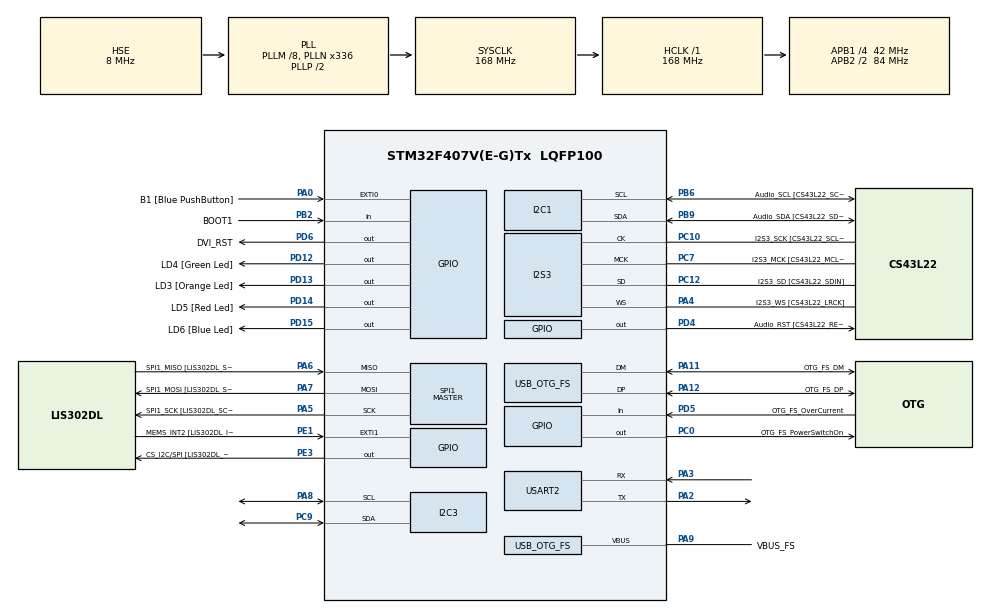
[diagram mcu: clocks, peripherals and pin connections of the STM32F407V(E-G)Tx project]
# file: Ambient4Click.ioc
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I2S3.AudioFreq-Half_Duplex_Master=I2S_AUDIOFREQ_96K
I2S3.ErrorAudioFreq=-2.34 %
I2S3.ErrorAudioFreq-Half_Duplex_Master=0.8 %
I2S3.FullDuplexMode=I2S_FULLDUPLEXMODE_DISABLE
I2S3.Instance=SPI$Index
I2S3.RealAudioFreq=93.75 KHz
I2S3.RealAudioFreq-Half_Duplex_Master=96.774 KHz
I2S3.VirtualMode=I2S_MODE_MASTER
Mcu.Family=STM32F4
Mcu.Name=STM32F407V(E-G)Tx
Mcu.Package=LQFP100
NVIC.I2C3_ER_IRQn=true\:0\:0\:false\:false\:true\:true\:true
NVIC.I2C3_EV_IRQn=true\:0\:0\:false\:false\:true\:true\:true
NVIC.OTG_FS_IRQn=true\:0\:0\:false\:false\:true\:true\:true
NVIC.PriorityGroup=NVIC_PRIORITYGROUP_0
PA0-WKUP.GPIO_Label=B1 [Blue PushButton]
PA0-WKUP.GPIO_ModeDefaultEXTI=GPIO_MODE_EVT_RISING
PA0-WKUP.GPIO_PuPd=GPIO_NOPULL
PA0-WKUP.Signal=GPXTI0
PA10.GPIO_Label=OTG_FS_ID
PA10.GPIO_Mode=GPIO_MODE_AF_PP
PA10.GPIO_PuPd=GPIO_NOPULL
PA10.GPIO_Speed=GPIO_SPEED_FREQ_LOW
PA10.Signal=USB_OTG_FS_ID
PA11.GPIO_Label=OTG_FS_DM
PA11.GPIO_Mode=GPIO_MODE_AF_PP
PA11.GPIO_PuPd=GPIO_NOPULL
PA11.GPIO_Speed=GPIO_SPEED_FREQ_LOW
PA11.Mode=Host_Only
PA11.Signal=USB_OTG_FS_DM
PA12.GPIO_Label=OTG_FS_DP
PA12.GPIO_Mode=GPIO_MODE_AF_PP
PA12.GPIO_PuPd=GPIO_NOPULL
PA12.GPIO_Speed=GPIO_SPEED_FREQ_LOW
PA12.Mode=Host_Only
PA12.Signal=USB_OTG_FS_DP
PA13.GPIO_Label=SWDIO
PA13.Mode=Serial_Wire
PA13.Signal=SYS_JTMS-SWDIO
PA14.GPIO_Label=SWCLK
PA14.Mode=Serial_Wire
PA14.Signal=SYS_JTCK-SWCLK
PA2.Mode=Asynchronous
PA2.Signal=USART2_TX
PA3.Mode=Asynchronous
PA3.Signal=USART2_RX
PA4.GPIO_Label=I2S3_WS [CS43L22_LRCK]
PA4.GPIO_Mode=GPIO_MODE_AF_PP
PA4.GPIO_PuPd=GPIO_NOPULL
PA4.GPIO_Speed=GPIO_SPEED_FREQ_LOW
PA4.Mode=Half_Duplex_Master
PA4.Signal=I2S3_WS
PA5.GPIO_Label=SPI1_SCK [LIS302DL_SCL/SPC]
PA5.GPIO_Mode=GPIO_MODE_AF_PP
PA5.GPIO_PuPd=GPIO_NOPULL
PA5.GPIO_Speed=GPIO_SPEED_FREQ_LOW
PA5.Mode=Full_Duplex_Master
PA5.Signal=SPI1_SCK
PA6.GPIO_Label=SPI1_MISO [LIS302DL_SDO]
PA6.GPIO_Mode=GPIO_MODE_AF_PP
PA6.GPIO_PuPd=GPIO_NOPULL
PA6.GPIO_Speed=GPIO_SPEED_FREQ_LOW
PA6.Mode=Full_Duplex_Master
PA6.Signal=SPI1_MISO
PA7.GPIO_Label=SPI1_MOSI [LIS302DL_SDA/SDI/SDO]
PA7.GPIO_Mode=GPIO_MODE_AF_PP
PA7.GPIO_PuPd=GPIO_NOPULL
PA7.GPIO_Speed=GPIO_SPEED_FREQ_LOW
PA7.Mode=Full_Duplex_Master
PA7.Signal=SPI1_MOSI
PA8.Mode=I2C
PA8.Signal=I2C3_SCL
PA9.GPIO_Label=VBUS_FS
PA9.GPIO_Mode=GPIO_MODE_INPUT
PA9.GPIO_PuPd=GPIO_NOPULL
PA9.Mode=Activate_VBUS
PA9.Signal=USB_OTG_FS_VBUS
PB10.GPIO_Label=CLK_IN [MP45DT02_CLK]
PB10.GPIO_Mode=GPIO_MODE_AF_PP
PB10.GPIO_PuPd=GPIO_NOPULL
PB10.GPIO_Speed=GPIO_SPEED_FREQ_LOW
PB10.Signal=I2S2_CK
PB2.GPIO_Label=BOOT1
PB2.GPIO_Mode=GPIO_MODE_INPUT
PB2.GPIO_PuPd=GPIO_NOPULL
PB2.Signal=GPIO_Input
PB3.GPIO_Label=SWO
PB3.Signal=SYS_JTDO-SWO
PB6.GPIO_Label=Audio_SCL [CS43L22_SCL]
PB6.GPIO_Mode=GPIO_MODE_AF_OD
PB6.GPIO_PuPd=GPIO_NOPULL
PB6.GPIO_Speed=GPIO_SPEED_FREQ_LOW
PB6.Mode=I2C
PB6.Signal=I2C1_SCL
PB9.GPIO_Label=Audio_SDA [CS43L22_SDA]
PB9.GPIO_Mode=GPIO_MODE_AF_OD
PB9.GPIO_PuPd=GPIO_NOPULL
PB9.GPIO_Speed=GPIO_SPEED_FREQ_LOW
PB9.Mode=I2C
PB9.Signal=I2C1_SDA
PC0.GPIO_Label=OTG_FS_PowerSwitchOn
PC0.GPIO_PuPd=GPIO_NOPULL
PC0.GPIO_Speed=GPIO_SPEED_FREQ_LOW
PC0.PinState=GPIO_PIN_SET
PC0.Signal=GPIO_Output
PC10.GPIO_Label=I2S3_SCK [CS43L22_SCLK]
PC10.GPIO_Mode=GPIO_MODE_AF_PP
PC10.GPIO_PuPd=GPIO_NOPULL
PC10.GPIO_Speed=GPIO_SPEED_FREQ_LOW
PC10.Mode=Half_Duplex_Master
PC10.Signal=I2S3_CK
PC12.GPIO_Label=I2S3_SD [CS43L22_SDIN]
PC12.GPIO_Mode=GPIO_MODE_AF_PP
PC12.GPIO_PuPd=GPIO_NOPULL
PC12.GPIO_Speed=GPIO_SPEED_FREQ_LOW
PC12.Mode=Half_Duplex_Master
PC12.Signal=I2S3_SD
PC14-OSC32_IN.GPIO_Label=PC14-OSC32_IN
PC14-OSC32_IN.Mode=LSE-External-Oscillator
PC14-OSC32_IN.Signal=RCC_OSC32_IN
PC15-OSC32_OUT.GPIO_Label=PC15-OSC32_OUT
PC15-OSC32_OUT.Mode=LSE-External-Oscillator
PC15-OSC32_OUT.Signal=RCC_OSC32_OUT
PC3.GPIO_Label=PDM_OUT [MP45DT02_DOUT]
PC3.GPIO_Mode=GPIO_MODE_AF_PP
PC3.GPIO_PuPd=GPIO_NOPULL
PC3.GPIO_Speed=GPIO_SPEED_FREQ_LOW
PC3.Signal=I2S2_SD
PC7.GPIO_Label=I2S3_MCK [CS43L22_MCLK]
PC7.GPIO_Mode=GPIO_MODE_AF_PP
PC7.GPIO_PuPd=GPIO_NOPULL
PC7.GPIO_Speed=GPIO_SPEED_FREQ_LOW
PC7.Mode=Master_Clock_Activated
PC7.Signal=I2S3_MCK
PC9.Mode=I2C
PC9.Signal=I2C3_SDA
PD12.GPIO_Label=LD4 [Green Led]
PD12.GPIO_PuPd=GPIO_NOPULL
PD12.GPIO_Speed=GPIO_SPEED_FREQ_LOW
PD12.Signal=GPIO_Output
PD13.GPIO_Label=LD3 [Orange Led]
PD13.GPIO_PuPd=GPIO_NOPULL
PD13.GPIO_Speed=GPIO_SPEED_FREQ_LOW
PD13.Signal=GPIO_Output
PD14.GPIO_Label=LD5 [Red Led]
PD14.GPIO_PuPd=GPIO_NOPULL
PD14.GPIO_Speed=GPIO_SPEED_FREQ_LOW
PD14.Signal=GPIO_Output
PD15.GPIO_Label=LD6 [Blue Led]
PD15.GPIO_PuPd=GPIO_NOPULL
PD15.GPIO_Speed=GPIO_SPEED_FREQ_LOW
PD15.Signal=GPIO_Output
PD4.GPIO_Label=Audio_RST [CS43L22_RESET]
PD4.GPIO_PuPd=GPIO_NOPULL
PD4.GPIO_Speed=GPIO_SPEED_FREQ_LOW
PD4.Signal=GPIO_Output
PD5.GPIO_Label=OTG_FS_OverCurrent
PD5.GPIO_Mode=GPIO_MODE_INPUT
PD5.GPIO_PuPd=GPIO_NOPULL
PD5.Signal=GPIO_Input
PD6.GPIO_Label=DVI_RST
PD6.GPIO_PuPd=GPIO_NOPULL
PD6.GPIO_Speed=GPIO_SPEED_FREQ_HIGH
PD6.PinState=GPIO_PIN_RESET
PD6.Signal=GPIO_Output
PE1.GPIO_Label=MEMS_INT2 [LIS302DL_INT2]
PE1.GPIO_ModeDefaultEXTI=GPIO_MODE_EVT_RISING
PE1.GPIO_PuPd=GPIO_NOPULL
PE1.Signal=GPXTI1
PE3.GPIO_Label=CS_I2C/SPI [LIS302DL_CS_I2C/SPI]
PE3.GPIO_PuPd=GPIO_NOPULL
PE3.GPIO_Speed=GPIO_SPEED_FREQ_LOW
PE3.Signal=GPIO_Output
PH0-OSC_IN.GPIO_Label=PH0-OSC_IN
PH0-OSC_IN.Mode=HSE-External-Oscillator
PH0-OSC_IN.Signal=RCC_OSC_IN
PH1-OSC_OUT.GPIO_Label=PH1-OSC_OUT
PH1-OSC_OUT.Mode=HSE-External-Oscillator
PH1-OSC_OUT.Signal=RCC_OSC_OUT
ProjectManager.HeapSize=0x200
ProjectManager.StackSize=0x400
ProjectManager.TargetToolchain=STM32CubeIDE
RCC.48MHZClocksFreq_Value=48000000
RCC.AHBFreq_Value=168000000
RCC.APB1CLKDivider=RCC_HCLK_DIV4
RCC.APB1Freq_Value=42000000
RCC.APB1TimFreq_Value=84000000
RCC.APB2CLKDivider=RCC_HCLK_DIV2
RCC.APB2Freq_Value=84000000
RCC.APB2TimFreq_Value=168000000
RCC.CortexFreq_Value=168000000
RCC.HCLKFreq_Value=168000000
RCC.HSE_VALUE=8000000
RCC.HSI_VALUE=16000000
RCC.PLLM=8
RCC.PLLN=336
RCC.PLLQ=7
RCC.SYSCLKFreq_VALUE=168000000
RCC.SYSCLKSource=RCC_SYSCLKSOURCE_PLLCLK
RCC.VCOOutputFreq_Value=336000000
SPI1.BaudRatePrescaler-Full_Duplex_Master=SPI_BAUDRATEPRESCALER_2
SPI1.CalculateBaudRate-Full_Duplex_Master=42.0 MBits/s
SPI1.Direction=SPI_DIRECTION_2LINES
SPI1.Mode=SPI_MODE_MASTER
SPI1.Mode-Full_Duplex_Master=SPI_MODE_MASTER
SPI1.VirtualType=VM_MASTER
USART2.VirtualMode=VM_ASYNC
USB_HOST.BSP.number=1
USB_HOST.USBH_HandleTypeDef-CDC_FS=hUsbHostFS
USB_HOST.VirtualModeFS=Cdc
USB_HOST0.BSP.STBoard=false
USB_HOST0.BSP.api=Unknown
USB_HOST0.BSP.i2caddr=0
USB_HOST0.BSP.i2creg=0
USB_HOST0.BSP.instance=PC0
USB_HOST0.BSP.ip=GPIO
USB_HOST0.BSP.mode=Output
USB_HOST0.BSP.name=Drive_VBUS_FS
USB_HOST0.BSP.solution=PC0
USB_OTG_FS.VirtualMode=Host_Only
USB_OTG_FS.phy_itface=HCD_PHY_EMBEDDED
VP_USB_HOST_VS_USB_HOST_CDC_FS.Mode=CDC_FS
board=STM32F407G-DISC1

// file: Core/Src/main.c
/* USER CODE BEGIN Header */
/**
  ******************************************************************************
  * @file           : main.c
  * @brief          : Main program body
  ******************************************************************************
  * @attention
  *
  * <h2><center>&copy; Copyright (c) 2021 STMicroelectronics.
  * All rights reserved.</center></h2>
  *
  * This software component is licensed by ST under Ultimate Liberty license
  * SLA0044, the "License"; You may not use this file except in compliance with
  * the License. You may obtain a copy of the License at:
  *                             www.st.com/SLA0044
  *
  ******************************************************************************
  */
/* USER CODE END Header */
#include "main.h"
#include "usb_host.h"

/* USER CODE BEGIN Includes */
#include "stdio.h"
/* USER CODE END Includes */

/* USER CODE BEGIN PD */
#define PWR_DOWN 		0x00
#define PWR_ON 			0x01

#define AUTO_RES_MODE1	0x10
#define AUTO_RES_MODE2	0x20

#define H_RES_MODE1		0x12
#define H_RES_MODE2		0x22

#define L_RES_MODE1		0x13
#define L_RES_MODE2		0x16
#define L_RES_MODE3		0x23
#define L_RES_MODE4		0x26

#define MEASURE_TIME_H_BIT_MASK	0x4F
#define MEASURE_TIME_L_BIT_MASK 0x6F

/* USER CODE END PD */

I2C_HandleTypeDef hi2c1;
I2C_HandleTypeDef hi2c3;

I2S_HandleTypeDef hi2s3;

SPI_HandleTypeDef hspi1;

UART_HandleTypeDef huart2;

void SystemClock_Config(void);
static void MX_GPIO_Init(void);
static void MX_I2C1_Init(void);
static void MX_I2S3_Init(void);
static void MX_SPI1_Init(void);
static void MX_I2C3_Init(void);
static void MX_USART2_UART_Init(void);
void MX_USB_HOST_Process(void);

/* USER CODE BEGIN 0 */
uint16_t data = 0;
/* USER CODE END 0 */

int main(void)
{
  /* USER CODE BEGIN 1 */
	HAL_StatusTypeDef ret = HAL_OK;
	uint8_t DevAddress = 0x46;
	uint8_t pData[2] = { 0 };
	uint8_t cData[8] = { 0 };
	uint32_t Timeout = 1000;

  /* USER CODE END 1 */

  /* MCU Configuration--------------------------------------------------------*/

  /* Reset of all peripherals, Initializes the Flash interface and the Systick. */
  HAL_Init();

  /* Configure the system clock */
  SystemClock_Config();

  /* Initialize all configured peripherals */
  MX_GPIO_Init();
  MX_I2C1_Init();
  MX_I2S3_Init();
  MX_SPI1_Init();
  MX_USB_HOST_Init();
  MX_I2C3_Init();
  MX_USART2_UART_Init();
  /* USER CODE BEGIN 2 */

  HAL_GPIO_WritePin(DVI_RST_GPIO_Port, DVI_RST_Pin, GPIO_PIN_SET);
  HAL_Delay(10);

//  ret = HAL_I2C_IsDeviceReady(&hi2c3, DevAddress, 10, 1000);

  cData[0] = 0x01;
  //Select mode H mode
//  ret = HAL_I2C_Master_Transmit(&hi2c3, DevAddress  , cData, 1, Timeout);
  ret = HAL_I2C_Mem_Write(&hi2c3, DevAddress, 0x13, 1, cData, 0, Timeout);
  HAL_Delay(10);

  /* USER CODE END 2 */

  /* Infinite loop */
  while (1)
  {
    MX_USB_HOST_Process();

    /* USER CODE BEGIN 3 */

    if (ret == HAL_OK) {
//    	cData[0] = 0x00;
//    	ret = HAL_I2C_Mem_Write(&hi2c3, DevAddress, 0x12, 1, cData, 0, Timeout);
    	HAL_Delay(200);
    	ret = HAL_I2C_Mem_Read(&hi2c3, DevAddress | 0x01, 0x13, 1, pData, 2, Timeout);

    	data = pData[0] << 8;
    	data |= pData[1];

    	printf("Device %d!!!\n", data);
	} else {
		printf("Device not ready!!!\n");
	}
    HAL_Delay(1000);

  }
  /* USER CODE END 3 */
}

void SystemClock_Config(void)
{
  RCC_OscInitTypeDef RCC_OscInitStruct = {0};
  RCC_ClkInitTypeDef RCC_ClkInitStruct = {0};
  RCC_PeriphCLKInitTypeDef PeriphClkInitStruct = {0};

  /** Configure the main internal regulator output voltage
  */
  __HAL_RCC_PWR_CLK_ENABLE();
  __HAL_PWR_VOLTAGESCALING_CONFIG(PWR_REGULATOR_VOLTAGE_SCALE1);
  /** Initializes the RCC Oscillators according to the specified parameters
  * in the RCC_OscInitTypeDef structure.
  */
  RCC_OscInitStruct.OscillatorType = RCC_OSCILLATORTYPE_HSE;
  RCC_OscInitStruct.HSEState = RCC_HSE_ON;
  RCC_OscInitStruct.PLL.PLLState = RCC_PLL_ON;
  RCC_OscInitStruct.PLL.PLLSource = RCC_PLLSOURCE_HSE;
  RCC_OscInitStruct.PLL.PLLM = 8;
  RCC_OscInitStruct.PLL.PLLN = 336;
  RCC_OscInitStruct.PLL.PLLP = RCC_PLLP_DIV2;
  RCC_OscInitStruct.PLL.PLLQ = 7;
  if (HAL_RCC_OscConfig(&RCC_OscInitStruct) != HAL_OK)
  {
    Error_Handler();
  }
  /** Initializes the CPU, AHB and APB buses clocks
  */
  RCC_ClkInitStruct.ClockType = RCC_CLOCKTYPE_HCLK|RCC_CLOCKTYPE_SYSCLK
                              |RCC_CLOCKTYPE_PCLK1|RCC_CLOCKTYPE_PCLK2;
  RCC_ClkInitStruct.SYSCLKSource = RCC_SYSCLKSOURCE_PLLCLK;
  RCC_ClkInitStruct.AHBCLKDivider = RCC_SYSCLK_DIV1;
  RCC_ClkInitStruct.APB1CLKDivider = RCC_HCLK_DIV4;
  RCC_ClkInitStruct.APB2CLKDivider = RCC_HCLK_DIV2;

  if (HAL_RCC_ClockConfig(&RCC_ClkInitStruct, FLASH_LATENCY_5) != HAL_OK)
  {
    Error_Handler();
  }
  PeriphClkInitStruct.PeriphClockSelection = RCC_PERIPHCLK_I2S;
  PeriphClkInitStruct.PLLI2S.PLLI2SN = 192;
  PeriphClkInitStruct.PLLI2S.PLLI2SR = 2;
  if (HAL_RCCEx_PeriphCLKConfig(&PeriphClkInitStruct) != HAL_OK)
  {
    Error_Handler();
  }
}

static void MX_I2C1_Init(void)
{

  hi2c1.Instance = I2C1;
  hi2c1.Init.ClockSpeed = 100000;
  hi2c1.Init.DutyCycle = I2C_DUTYCYCLE_2;
  hi2c1.Init.OwnAddress1 = 0;
  hi2c1.Init.AddressingMode = I2C_ADDRESSINGMODE_7BIT;
  hi2c1.Init.DualAddressMode = I2C_DUALADDRESS_DISABLE;
  hi2c1.Init.OwnAddress2 = 0;
  hi2c1.Init.GeneralCallMode = I2C_GENERALCALL_DISABLE;
  hi2c1.Init.NoStretchMode = I2C_NOSTRETCH_DISABLE;
  if (HAL_I2C_Init(&hi2c1) != HAL_OK)
  {
    Error_Handler();
  }

}

static void MX_I2C3_Init(void)
{

  hi2c3.Instance = I2C3;
  hi2c3.Init.ClockSpeed = 100000;
  hi2c3.Init.DutyCycle = I2C_DUTYCYCLE_2;
  hi2c3.Init.OwnAddress1 = 0;
  hi2c3.Init.AddressingMode = I2C_ADDRESSINGMODE_7BIT;
  hi2c3.Init.DualAddressMode = I2C_DUALADDRESS_DISABLE;
  hi2c3.Init.OwnAddress2 = 0;
  hi2c3.Init.GeneralCallMode = I2C_GENERALCALL_DISABLE;
  hi2c3.Init.NoStretchMode = I2C_NOSTRETCH_DISABLE;
  if (HAL_I2C_Init(&hi2c3) != HAL_OK)
  {
    Error_Handler();
  }

}

static void MX_I2S3_Init(void)
{

  hi2s3.Instance = SPI3;
  hi2s3.Init.Mode = I2S_MODE_MASTER_TX;
  hi2s3.Init.Standard = I2S_STANDARD_PHILIPS;
  hi2s3.Init.DataFormat = I2S_DATAFORMAT_16B;
  hi2s3.Init.MCLKOutput = I2S_MCLKOUTPUT_ENABLE;
  hi2s3.Init.AudioFreq = I2S_AUDIOFREQ_96K;
  hi2s3.Init.CPOL = I2S_CPOL_LOW;
  hi2s3.Init.ClockSource = I2S_CLOCK_PLL;
  hi2s3.Init.FullDuplexMode = I2S_FULLDUPLEXMODE_DISABLE;
  if (HAL_I2S_Init(&hi2s3) != HAL_OK)
  {
    Error_Handler();
  }

}

static void MX_SPI1_Init(void)
{

  /* SPI1 parameter configuration*/
  hspi1.Instance = SPI1;
  hspi1.Init.Mode = SPI_MODE_MASTER;
  hspi1.Init.Direction = SPI_DIRECTION_2LINES;
  hspi1.Init.DataSize = SPI_DATASIZE_8BIT;
  hspi1.Init.CLKPolarity = SPI_POLARITY_LOW;
  hspi1.Init.CLKPhase = SPI_PHASE_1EDGE;
  hspi1.Init.NSS = SPI_NSS_SOFT;
  hspi1.Init.BaudRatePrescaler = SPI_BAUDRATEPRESCALER_2;
  hspi1.Init.FirstBit = SPI_FIRSTBIT_MSB;
  hspi1.Init.TIMode = SPI_TIMODE_DISABLE;
  hspi1.Init.CRCCalculation = SPI_CRCCALCULATION_DISABLE;
  hspi1.Init.CRCPolynomial = 10;
  if (HAL_SPI_Init(&hspi1) != HAL_OK)
  {
    Error_Handler();
  }

}

static void MX_USART2_UART_Init(void)
{

  huart2.Instance = USART2;
  huart2.Init.BaudRate = 115200;
  huart2.Init.WordLength = UART_WORDLENGTH_8B;
  huart2.Init.StopBits = UART_STOPBITS_1;
  huart2.Init.Parity = UART_PARITY_NONE;
  huart2.Init.Mode = UART_MODE_TX_RX;
  huart2.Init.HwFlowCtl = UART_HWCONTROL_NONE;
  huart2.Init.OverSampling = UART_OVERSAMPLING_16;
  if (HAL_UART_Init(&huart2) != HAL_OK)
  {
    Error_Handler();
  }

}

static void MX_GPIO_Init(void)
{
  GPIO_InitTypeDef GPIO_InitStruct = {0};

  /* GPIO Ports Clock Enable */
  __HAL_RCC_GPIOE_CLK_ENABLE();
  __HAL_RCC_GPIOC_CLK_ENABLE();
  __HAL_RCC_GPIOH_CLK_ENABLE();
  __HAL_RCC_GPIOA_CLK_ENABLE();
  __HAL_RCC_GPIOB_CLK_ENABLE();
  __HAL_RCC_GPIOD_CLK_ENABLE();

  /*Configure GPIO pin Output Level */
  HAL_GPIO_WritePin(CS_I2C_SPI_GPIO_Port, CS_I2C_SPI_Pin, GPIO_PIN_RESET);

  /*Configure GPIO pin Output Level */
  HAL_GPIO_WritePin(OTG_FS_PowerSwitchOn_GPIO_Port, OTG_FS_PowerSwitchOn_Pin, GPIO_PIN_SET);

  /*Configure GPIO pin Output Level */
  HAL_GPIO_WritePin(GPIOD, LD4_Pin|LD3_Pin|LD5_Pin|LD6_Pin
                          |Audio_RST_Pin|DVI_RST_Pin, GPIO_PIN_RESET);

  /*Configure GPIO pin : CS_I2C_SPI_Pin */
  GPIO_InitStruct.Pin = CS_I2C_SPI_Pin;
  GPIO_InitStruct.Mode = GPIO_MODE_OUTPUT_PP;
  GPIO_InitStruct.Pull = GPIO_NOPULL;
  GPIO_InitStruct.Speed = GPIO_SPEED_FREQ_LOW;
  HAL_GPIO_Init(CS_I2C_SPI_GPIO_Port, &GPIO_InitStruct);

  /*Configure GPIO pin : OTG_FS_PowerSwitchOn_Pin */
  GPIO_InitStruct.Pin = OTG_FS_PowerSwitchOn_Pin;
  GPIO_InitStruct.Mode = GPIO_MODE_OUTPUT_PP;
  GPIO_InitStruct.Pull = GPIO_NOPULL;
  GPIO_InitStruct.Speed = GPIO_SPEED_FREQ_LOW;
  HAL_GPIO_Init(OTG_FS_PowerSwitchOn_GPIO_Port, &GPIO_InitStruct);

  /*Configure GPIO pin : PDM_OUT_Pin */
  GPIO_InitStruct.Pin = PDM_OUT_Pin;
  GPIO_InitStruct.Mode = GPIO_MODE_AF_PP;
  GPIO_InitStruct.Pull = GPIO_NOPULL;
  GPIO_InitStruct.Speed = GPIO_SPEED_FREQ_LOW;
  GPIO_InitStruct.Alternate = GPIO_AF5_SPI2;
  HAL_GPIO_Init(PDM_OUT_GPIO_Port, &GPIO_InitStruct);

  /*Configure GPIO pin : B1_Pin */
  GPIO_InitStruct.Pin = B1_Pin;
  GPIO_InitStruct.Mode = GPIO_MODE_EVT_RISING;
  GPIO_InitStruct.Pull = GPIO_NOPULL;
  HAL_GPIO_Init(B1_GPIO_Port, &GPIO_InitStruct);

  /*Configure GPIO pin : BOOT1_Pin */
  GPIO_InitStruct.Pin = BOOT1_Pin;
  GPIO_InitStruct.Mode = GPIO_MODE_INPUT;
  GPIO_InitStruct.Pull = GPIO_NOPULL;
  HAL_GPIO_Init(BOOT1_GPIO_Port, &GPIO_InitStruct);

  /*Configure GPIO pin : CLK_IN_Pin */
  GPIO_InitStruct.Pin = CLK_IN_Pin;
  GPIO_InitStruct.Mode = GPIO_MODE_AF_PP;
  GPIO_InitStruct.Pull = GPIO_NOPULL;
  GPIO_InitStruct.Speed = GPIO_SPEED_FREQ_LOW;
  GPIO_InitStruct.Alternate = GPIO_AF5_SPI2;
  HAL_GPIO_Init(CLK_IN_GPIO_Port, &GPIO_InitStruct);

  /*Configure GPIO pins : LD4_Pin LD3_Pin LD5_Pin LD6_Pin
                           Audio_RST_Pin */
  GPIO_InitStruct.Pin = LD4_Pin|LD3_Pin|LD5_Pin|LD6_Pin
                          |Audio_RST_Pin;
  GPIO_InitStruct.Mode = GPIO_MODE_OUTPUT_PP;
  GPIO_InitStruct.Pull = GPIO_NOPULL;
  GPIO_InitStruct.Speed = GPIO_SPEED_FREQ_LOW;
  HAL_GPIO_Init(GPIOD, &GPIO_InitStruct);

  /*Configure GPIO pin : OTG_FS_OverCurrent_Pin */
  GPIO_InitStruct.Pin = OTG_FS_OverCurrent_Pin;
  GPIO_InitStruct.Mode = GPIO_MODE_INPUT;
  GPIO_InitStruct.Pull = GPIO_NOPULL;
  HAL_GPIO_Init(OTG_FS_OverCurrent_GPIO_Port, &GPIO_InitStruct);

  /*Configure GPIO pin : DVI_RST_Pin */
  GPIO_InitStruct.Pin = DVI_RST_Pin;
  GPIO_InitStruct.Mode = GPIO_MODE_OUTPUT_PP;
  GPIO_InitStruct.Pull = GPIO_NOPULL;
  GPIO_InitStruct.Speed = GPIO_SPEED_FREQ_HIGH;
  HAL_GPIO_Init(DVI_RST_GPIO_Port, &GPIO_InitStruct);

  /*Configure GPIO pin : MEMS_INT2_Pin */
  GPIO_InitStruct.Pin = MEMS_INT2_Pin;
  GPIO_InitStruct.Mode = GPIO_MODE_EVT_RISING;
  GPIO_InitStruct.Pull = GPIO_NOPULL;
  HAL_GPIO_Init(MEMS_INT2_GPIO_Port, &GPIO_InitStruct);

}

/* USER CODE BEGIN 4 */
int __io_putchar(int ch){
 return HAL_UART_Transmit(&huart2, &ch, 1, 1000);
}
/* USER CODE END 4 */

void Error_Handler(void)
{
  __disable_irq();
  while (1)
  {
  }
}

/************************ (C) COPYRIGHT STMicroelectronics *****END OF FILE****/
